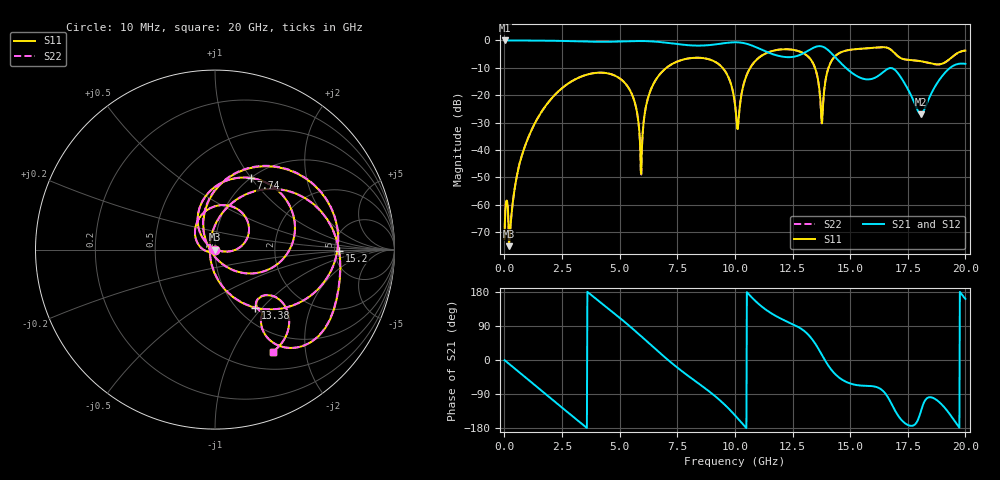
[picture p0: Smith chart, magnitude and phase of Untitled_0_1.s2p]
! TOUCHSTONE file generated by CST MICROWAVE STUDIO
! Date and time: Tue Oct 21 13:47:27 2025
! Project name: Untitled_0.cst
! Parameters = {E4_4=4.4; E4_3=0.85; E4_2=9.925; E4_1=10.075; E3_4=4.25; E3_3=0.85; E3_2=9.7; E3_1=10.3; E2_4=0.85; E2_3=-0.85; E2_2=11.85; E2_1=8.15; y=0.017; x=0; Tr6=-2; Tr5=2; Tr4=11; Tr3=2; Tr2=15; Tr1=-5; g3=3; g2=2; g1=0.15; E1_4=1; E1_3=-1; E1_2=12; E1_1=8; SP3_2_6=3.5; SP3_2_5=3.5; SP3_2_4=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
! Header version: 2018
! Port assignment regex: !\s*Touchstone port\s*([0-9]+)\s*=\s*(CST MWS port|CST DS port)\s*([0-9]+|Zmin|Zmax)\s*\(\"(.*)\"\)(\s*mode\s*([0-9]+))?.*
! Touchstone port assignment:
! Touchstone port 1 = CST MWS port 1 ("")
! Touchstone port 2 = CST MWS port 2 ("")
# GHz S DB R 50
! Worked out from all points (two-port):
!   1004 points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, 10 MHz to 20 GHz, reference 50 ohm
!   highest |S21| = 0.00 dB at 10 MHz (marker M1); lowest = -26.9 dB at 18.06 GHz (marker M2)
!   |S21| within 3 dB of the highest: start of sweep to 11.06 GHz; 13.33 GHz to 13.97 GHz (639.6 MHz wide, 4.69 % of centre)
!   lowest |S11| = -75.1 dB at 200 MHz (marker M3), VSWR 1.00, Z = 50 - j0.00821 ohm
!   |S11| at or under -10 dB: start of sweep to 7.03 GHz; 9.466 GHz to 10.67 GHz (1.201 GHz wide, 11.9 % of centre); 13.48 GHz to 14.06 GHz (584.3 MHz wide, 4.24 % of centre)
!   |S22| runs from -74.2 to -2.5 dB; largest |S21 - S12| = 2.2e-05
!   S11 on the Smith chart (normalised r, x): 10 MHz: 1.00, +0.00; 7.74 GHz: 1.00, +1.00; 13.38 GHz: 1.19, -0.91; 15.2 GHz: 5.48, -0.11; 20 GHz: 0.73, -1.45
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0.01  -72.53 87.0  -0.00 -0.5  -0.00 -0.5  -72.09 87.1
0.2  -75.09 -27.8  -0.01 -10.1  -0.01 -10.1  -74.20 -38.8
1.24  -31.62 -151.6  -0.04 -62.2  -0.04 -62.2  -31.61 -151.4
2.22  -19.60 158.9  -0.12 -111.5  -0.12 -111.5  -19.60 159.1
3.36  -13.10 103.3  -0.37 -168.4  -0.37 -168.4  -13.10 103.4
5.24  -15.64 12.0  -0.33 99.4  -0.33 99.4  -15.64 12.1
5.92  -48.20 14.7  -0.22 63.5  -0.22 63.5  -48.46 13.1
6.22  -21.34 137.9  -0.27 47.1  -0.27 47.1  -21.32 138.1
6.68  -13.02 114.7  -0.52 22.1  -0.52 22.1  -13.01 114.8
7.74  -7.02 63.4  -1.56 -31.2  -1.56 -31.2  -7.01 63.5
9.38  -9.24 -15.4  -1.19 -107.9  -1.19 -107.9  -9.24 -15.5
10.02  -24.38 -74.1  -0.67 -147.0  -0.67 -147.0  -24.35 -75.7
11.2  -5.38 59.6  -3.51 139.4  -3.51 139.4  -5.32 59.5
12.34  -3.24 4.8  -6.11 99.2  -6.11 99.2  -3.23 4.4
13.34  -7.54 -51.9  -2.95 55.7  -2.95 55.7  -7.64 -52.3
13.38  -8.13 -55.5  -2.78 52.5  -2.78 52.5  -8.23 -55.7
13.78  -30.25 163.7  -2.19 13.0  -2.19 13.0  -30.22 156.4
14.2  -7.38 51.6  -4.76 -26.9  -4.76 -26.9  -7.35 51.2
15.2  -3.20 -0.4  -12.54 -65.2  -12.54 -65.2  -3.22 -0.6
16.68  -2.90 -49.4  -10.19 -102.5  -10.19 -102.5  -2.91 -49.4
18.06  -7.57 -53.7  -26.90 -137.0  -26.90 -137.0  -7.59 -54.0
20  -3.69 -60.5  -8.54 161.2  -8.54 161.2  -3.69 -60.5
